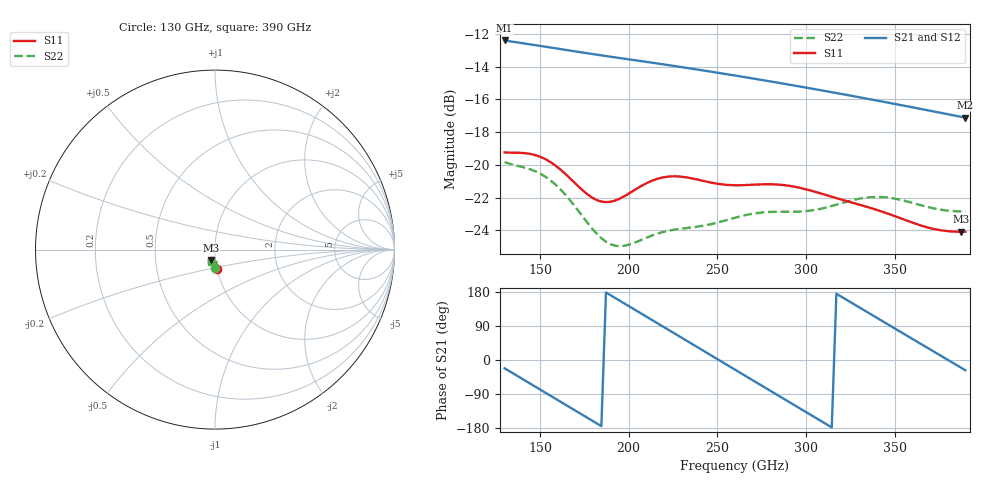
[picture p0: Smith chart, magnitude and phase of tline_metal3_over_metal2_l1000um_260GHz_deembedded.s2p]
! Created with skrf 2.0.1 (http://scikit-rf.org).
# GHz S DB R 50.0
!freq dBS11 angS11 dBS21 angS21 dBS12 angS12 dBS22 angS22
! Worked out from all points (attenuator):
!   101 points, 130 GHz to 390 GHz, reference 50 ohm
!   highest |S21| = -12.41 dB at 130 GHz (marker M1); lowest = -17.1 dB at 390 GHz (marker M2)
!   lowest |S11| = -24.1 dB at 387.4 GHz (marker M3), VSWR 1.13, Z = 47.4 - j5.52 ohm
!   |S11| at or under -10 dB: start of sweep to end of sweep
!   |S22| runs from -25.0 to -19.8 dB; largest |S21 - S12| = 3.3e-15
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130  -19.24 -84.6  -12.41 -21.9  -12.41 -21.9  -19.83 -91.4
140.4  -19.28 -86.1  -12.58 -51.0  -12.58 -51.0  -20.14 -92.5
150.8  -19.54 -90.1  -12.75 -80.1  -12.75 -80.1  -20.58 -96.3
161.2  -20.26 -94.1  -12.93 -109.2  -12.93 -109.2  -21.46 -100.6
174.2  -21.57 -94.5  -13.15 -145.5  -13.15 -145.5  -23.18 -102.2
184.6  -22.24 -89.8  -13.32 -174.6  -13.32 -174.6  -24.48 -97.6
195  -22.06 -84.7  -13.48 156.4  -13.48 156.4  -24.96 -89.7
208  -21.24 -84.0  -13.68 120.0  -13.68 120.0  -24.54 -83.4
218.4  -20.79 -87.4  -13.85 90.9  -13.85 90.9  -24.13 -82.3
228.8  -20.71 -91.6  -14.02 61.8  -14.02 61.8  -23.91 -82.4
241.8  -20.97 -95.6  -14.23 25.4  -14.23 25.4  -23.72 -82.3
260  -21.25 -98.0  -14.55 -25.5  -14.55 -25.5  -23.23 -82.9
270.4  -21.21 -99.6  -14.73 -54.6  -14.73 -54.6  -22.98 -84.7
280.8  -21.19 -102.2  -14.92 -83.6  -14.92 -83.6  -22.87 -86.8
291.2  -21.29 -105.4  -15.12 -112.6  -15.12 -112.6  -22.86 -88.3
304.2  -21.61 -109.0  -15.36 -148.9  -15.36 -148.9  -22.77 -89.1
322.4  -22.19 -112.2  -15.72 160.4  -15.72 160.4  -22.27 -91.5
335.4  -22.60 -113.9  -15.98 124.2  -15.98 124.2  -21.98 -95.6
348.4  -23.06 -115.2  -16.24 88.1  -16.24 88.1  -22.03 -100.4
369.2  -23.84 -114.5  -16.68 30.4  -16.68 30.4  -22.59 -105.0
387.4  -24.08 -112.0  -17.07 -19.9  -17.07 -19.9  -22.84 -105.9
390  -24.08 -111.7  -17.12 -27.1  -17.12 -27.1  -22.84 -106.0
